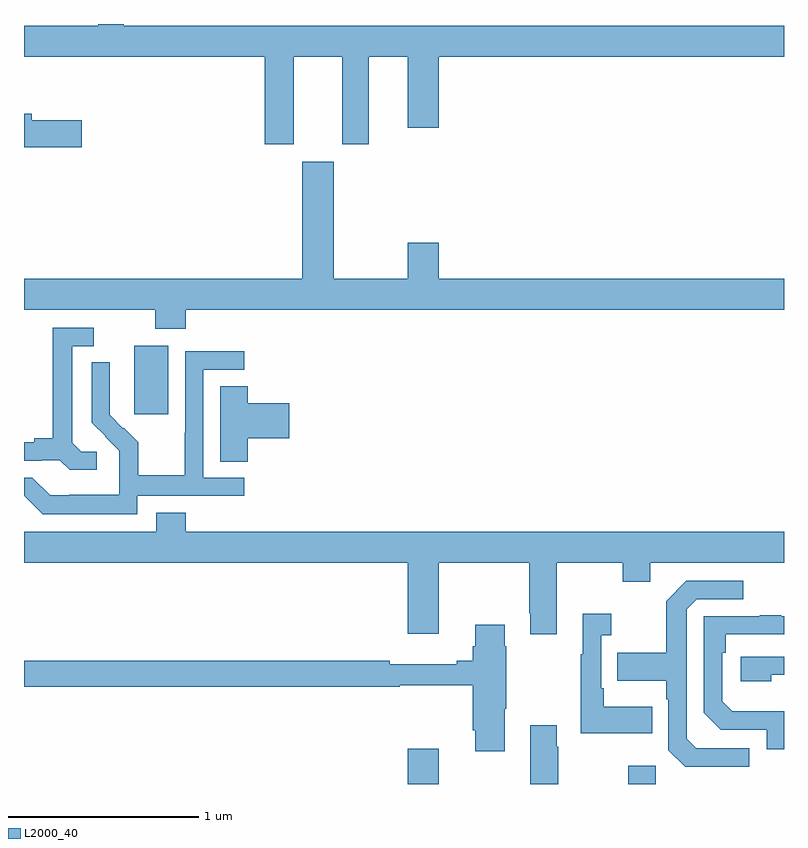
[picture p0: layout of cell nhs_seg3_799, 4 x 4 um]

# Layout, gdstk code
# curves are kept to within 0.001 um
import gdstk
lib = gdstk.Library(unit=1e-6, precision=1e-09)
def R(c, l, rs):  # rectangles x0, y0, x1, y1
    for r in rs: c.add(gdstk.rectangle(r[:2], r[2:], *l))
def P(c, l, *ps):  # polygons
    for p in ps: c.add(gdstk.Polygon(p, *l))
L2000_40 = (2000, 40)

nhs_seg3_799 = lib.new_cell('nhs_seg3_799')
R(nhs_seg3_799, L2000_40, [(153.02,718.4,153.184,718.585), (154.18,718.4,154.326,718.495), (151.58,720.345,151.759,720.706)])
P(nhs_seg3_799, L2000_40, [(152.419,722.228),(152.675,722.228),(152.675,721.767),(152.815,721.767),(152.815,722.228),(153.02,722.228),(153.02,721.854),(153.184,721.854),(153.184,722.228),(155,722.228),(155,722.392),(151.526,722.392),(151.526,722.4),(151.39,722.4),(151.39,722.392),(151,722.392),(151,722.228),(152.267,722.228),(152.267,721.767),(152.419,721.767)],
  [(151.303,721.893),(151.042,721.893),(151.042,721.927),(151,721.927),(151,721.751),(151.303,721.751)],
  [(151.85,720.896),(155,720.896),(155,721.06),(153.184,721.06),(153.184,721.249),(153.02,721.249),(153.02,721.06),(152.629,721.06),(152.629,721.675),(152.465,721.675),(152.465,721.06),(151,721.06),(151,720.896),(151.69,720.896),(151.69,720.797),(151.85,720.797)],
  [(151.384,720.15),(151.302,720.15),(151.255,720.197),(151.255,720.705),(151.366,720.705),(151.366,720.801),(151.151,720.801),(151.151,720.221),(151.055,720.221),(151.055,720.198),(151,720.198),(151,720.102),(151.094,720.102),(151.094,720.105),(151.188,720.105),(151.24,720.053),(151.384,720.053)],
  [(151.596,719.916),(152.158,719.916),(152.158,720.012),(151.944,720.012),(151.944,720.579),(152.158,720.579),(152.158,720.678),(151.848,720.678),(151.848,720.248),(151.846,720.248),(151.846,720.025),(151.601,720.025),(151.601,720.199),(151.524,720.276),(151.521,720.273),(151.451,720.344),(151.452,720.62),(151.356,720.62),(151.356,720.302),(151.502,720.154),(151.502,720.057),(151.5,720.057),(151.5,719.923),(151.237,719.923),(151.237,719.919),(151.137,719.919),(151.044,720.012),(151,720.012),(151,719.918),(151.099,719.819),(151.596,719.819)],
  [(152.177,720.221),(152.395,720.221),(152.395,720.404),(152.177,720.404),(152.177,720.494),(152.033,720.494),(152.033,720.097),(152.177,720.097)],
  [(153.805,719.564),(154.15,719.564),(154.15,719.465),(154.297,719.465),(154.297,719.564),(155,719.564),(155,719.728),(151.85,719.728),(151.85,719.827),(151.697,719.827),(151.697,719.728),(151,719.728),(151,719.564),(153.02,719.564),(153.02,719.19),(153.184,719.19),(153.184,719.564),(153.658,719.564),(153.658,719.299),(153.665,719.299),(153.665,719.187),(153.805,719.187)],
  [(154.816,718.587),(154.539,718.587),(154.488,718.638),(154.488,719.319),(154.542,719.373),(154.786,719.373),(154.786,719.469),(154.485,719.469),(154.38,719.363),(154.38,719.091),(154.123,719.091),(154.123,718.943),(154.38,718.943),(154.38,718.847),(154.392,718.847),(154.392,718.578),(154.479,718.491),(154.816,718.491)],
  [(154.307,718.807),(154.051,718.807),(154.051,718.903),(154.038,718.903),(154.038,719.183),(154.09,719.183),(154.09,719.296),(153.941,719.296),(153.941,719.083),(153.93,719.083),(153.93,718.667),(154.307,718.667)],
  [(155,718.783),(154.727,718.783),(154.674,718.836),(154.674,719.09),(154.694,719.09),(154.694,719.187),(155,719.187),(155,719.283),(154.985,719.283),(154.985,719.288),(154.873,719.288),(154.873,719.283),(154.578,719.283),(154.578,718.776),(154.668,718.686),(154.908,718.686),(154.908,718.584),(155,718.584)],
  [(153.529,718.795),(153.537,718.795),(153.537,719.126),(153.529,719.126),(153.529,719.239),(153.374,719.239),(153.374,719.126),(153.362,719.126),(153.362,719.048),(153.278,719.048),(153.278,719.029),(152.924,719.029),(152.924,719.048),(151,719.048),(151,718.912),(152.978,718.912),(152.978,718.92),(153.362,718.92),(153.362,718.684),(153.374,718.684),(153.374,718.572),(153.529,718.572)],
  [(154.934,718.974),(155,718.974),(155,719.07),(154.773,719.07),(154.773,718.94),(154.934,718.94)],
  [(153.813,718.595),(153.805,718.595),(153.805,718.708),(153.665,718.708),(153.665,718.4),(153.813,718.4)])

lib.write_gds('nhs_seg3_799.gds')
